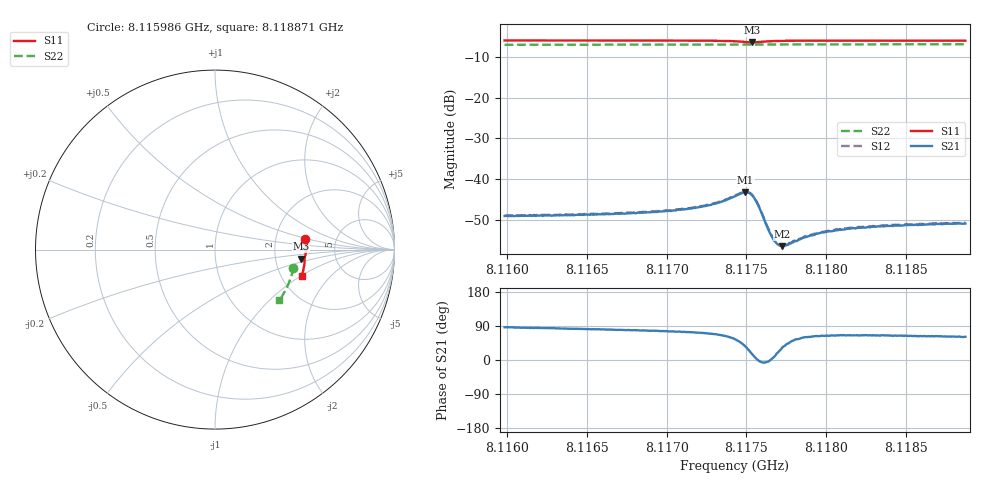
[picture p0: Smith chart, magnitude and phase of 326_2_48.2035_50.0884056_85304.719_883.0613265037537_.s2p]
#  HZ  S  RI  R  50.00
! Rohde & Schwarz Vector Network Analyzer
! Rohde-Schwarz,ZNB20-2Port,1311601062101988,3.16
! Created: UTC 3/20/2024, 11:50:41 AM
! freq[Hz]  re:S11  im:S11  re:S21  im:S21  re:S12  im:S12  re:S22  im:S22
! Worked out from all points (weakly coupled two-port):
!   401 points, 8.115986 GHz to 8.118871 GHz, reference 50 ohm
!   highest |S21| = -43.32 dB at 8.117493 GHz (marker M1); lowest = -56.5 dB at 8.117724 GHz (marker M2)
!   lowest |S11| = -6.4 dB at 8.117537 GHz (marker M3), VSWR 2.86, Z = 140 - j18.5 ohm
!   |S11| at or under -10 dB: nowhere
!   |S22| runs from -7.0 to -6.8 dB; largest |S21 - S12| = 0.00019
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8.1159856e9  0.5039 0.0592  0.000218 0.00349  0.000313 0.0035  0.4371 -0.1004
8.116469e9  0.5062 0.0229  0.000507 0.00359  0.000554 0.00363  0.4297 -0.133
8.1169523e9  0.5056 -0.0144  0.000922 0.00387  0.000946 0.00391  0.4197 -0.1651
8.1171182e9  0.5044 -0.0278  0.00119 0.0041  0.00124 0.00412  0.4159 -0.176
8.1172337e9  0.5027 -0.0377  0.00151 0.00436  0.00155 0.00444  0.4128 -0.1835
8.1173202e9  0.5004 -0.0458  0.00199 0.00468  0.00209 0.00473  0.4105 -0.1892
8.1174284e9  0.493 -0.0567  0.00351 0.00501  0.00367 0.00508  0.4071 -0.1962
8.1174934e9  0.4826 -0.0581  0.00554 0.00399  0.00567 0.00398  0.405 -0.2001
8.117515e9  0.4795 -0.0551  0.00605 0.00292  0.00619 0.00295  0.4044 -0.2013
8.1175367e9  0.4785 -0.0507  0.00603 0.00162  0.00617 0.00162  0.4037 -0.2023
8.1175727e9  0.4828 -0.045  0.00481 -2.84e-05  0.00488 -6.95e-05  0.4028 -0.2042
8.1176377e9  0.4933 -0.0475  0.00238 -0.000168  0.00244 -0.00021  0.4016 -0.2085
8.1176665e9  0.4959 -0.0507  0.00184 0.000179  0.00188 0.000156  0.4007 -0.2103
8.1176954e9  0.4974 -0.0542  0.00148 0.000506  0.00153 0.000494  0.4 -0.2123
8.1177242e9  0.4983 -0.0573  0.00125 0.000814  0.0013 0.00082  0.3991 -0.2141
8.1177603e9  0.4989 -0.0613  0.00112 0.00106  0.00115 0.00107  0.3981 -0.2165
8.1178036e9  0.499 -0.0656  0.00103 0.0014  0.00106 0.0014  0.3968 -0.2193
8.1179118e9  0.4987 -0.0755  0.000946 0.00179  0.000996 0.00182  0.3933 -0.2259
8.1179695e9  0.498 -0.0803  0.000958 0.00198  0.00104 0.00197  0.3913 -0.2298
8.1181426e9  0.4958 -0.0941  0.00103 0.00221  0.00107 0.00226  0.3855 -0.2403
8.1183951e9  0.4919 -0.1133  0.00115 0.00238  0.00114 0.00244  0.3766 -0.2556
8.1188713e9  0.4822 -0.1479  0.00136 0.00248  0.00138 0.00252  0.3578 -0.2834
